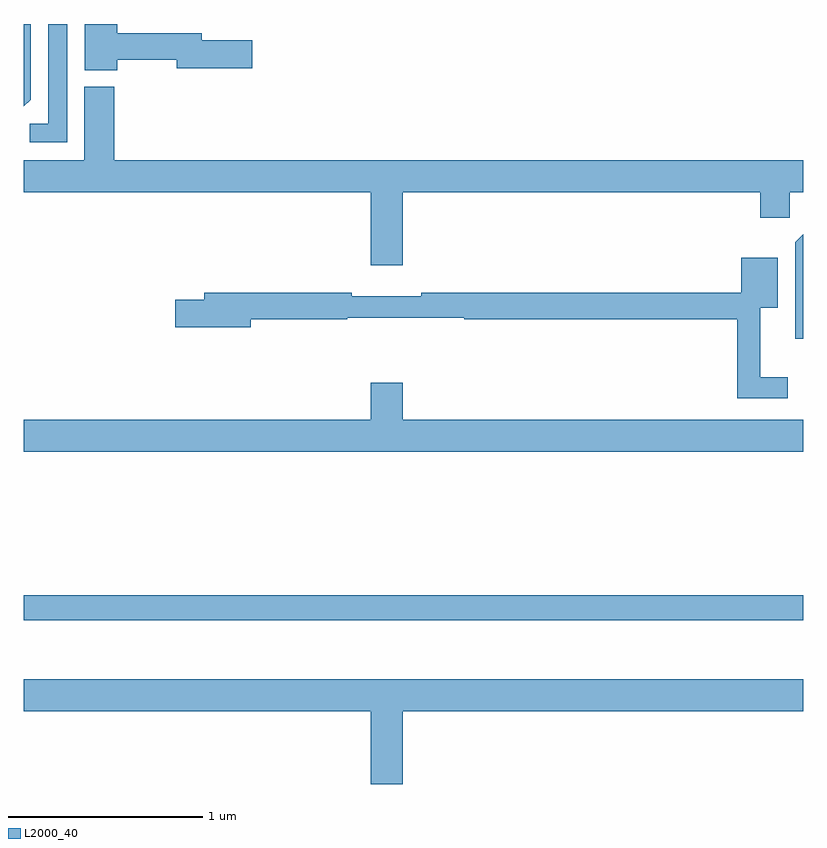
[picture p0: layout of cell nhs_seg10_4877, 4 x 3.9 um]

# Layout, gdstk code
import gdstk
lib = gdstk.Library(unit=1e-6, precision=1e-09)
def R(c, l, rs):  # rectangles x0, y0, x1, y1
    for r in rs: c.add(gdstk.rectangle(r[:2], r[2:], *l))
def P(c, l, *ps):  # polygons
    for p in ps: c.add(gdstk.Polygon(p, *l))
L2000_40 = (2000, 40)

nhs_seg10_4877 = lib.new_cell('nhs_seg10_4877')
R(nhs_seg10_4877, L2000_40, [(391,1311.438,395,1311.566)])
P(nhs_seg10_4877, L2000_40, [(391.035,1314.112),(391.035,1314.5),(391,1314.5),(391,1314.077)],
  [(391.221,1314.5),(391.125,1314.5),(391.125,1313.987),(391.03,1313.987),(391.03,1313.892),(391.221,1313.892)],
  [(391.48,1314.316),(391.784,1314.316),(391.784,1314.274),(392.173,1314.274),(392.173,1314.416),(391.912,1314.416),(391.912,1314.452),(391.48,1314.452),(391.48,1314.5),(391.313,1314.5),(391.313,1314.263),(391.48,1314.263)],
  [(392.944,1313.636),(394.781,1313.636),(394.781,1313.505),(394.932,1313.505),(394.932,1313.636),(395,1313.636),(395,1313.8),(391.463,1313.8),(391.463,1314.178),(391.31,1314.178),(391.31,1313.8),(391,1313.8),(391,1313.636),(392.78,1313.636),(392.78,1313.262),(392.944,1313.262)],
  [(395,1313.42),(394.959,1313.379),(394.959,1312.884),(395,1312.884)],
  [(394.921,1312.687),(394.781,1312.687),(394.781,1313.042),(394.87,1313.042),(394.87,1313.299),(394.683,1313.299),(394.683,1313.12),(393.04,1313.12),(393.04,1313.101),(392.684,1313.101),(392.684,1313.12),(391.925,1313.12),(391.925,1313.084),(391.776,1313.084),(391.776,1312.942),(392.164,1312.942),(392.164,1312.984),(392.66,1312.984),(392.66,1312.992),(393.26,1312.992),(393.26,1312.984),(394.663,1312.984),(394.663,1312.578),(394.921,1312.578)],
  [(395,1312.468),(392.944,1312.468),(392.944,1312.657),(392.78,1312.657),(392.78,1312.468),(391,1312.468),(391,1312.304),(395,1312.304)],
  [(392.944,1310.972),(395,1310.972),(395,1311.136),(391,1311.136),(391,1310.972),(392.78,1310.972),(392.78,1310.598),(392.944,1310.598)])

lib.write_gds('nhs_seg10_4877.gds')
